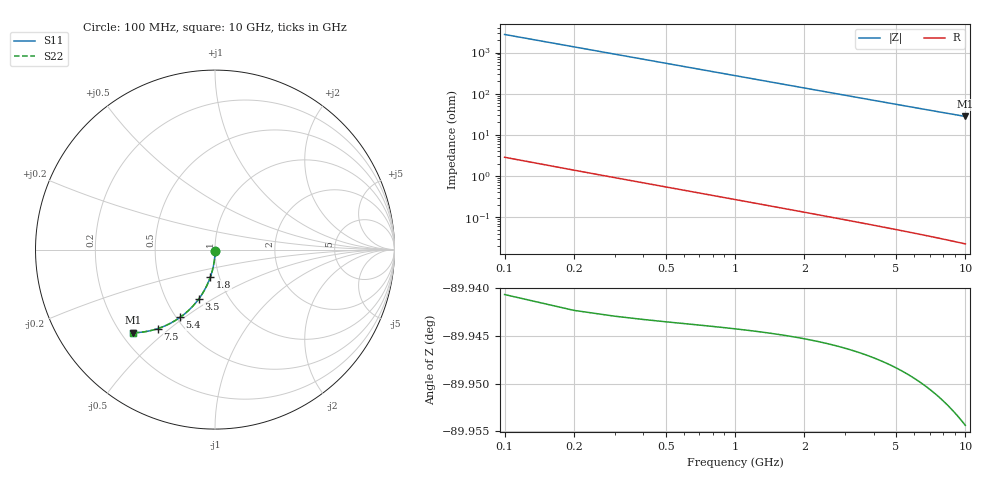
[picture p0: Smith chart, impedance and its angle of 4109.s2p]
# Hz S RI R 50.00
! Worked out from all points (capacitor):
!   100 points, 100 MHz to 10 GHz, reference 50 ohm
!   read as one part in shunt: C = 578 fF near 100 MHz
!   lowest |Z| = 28 ohm at 10 GHz (marker M1)
!   S11 on the Smith chart (normalised r, x): 100 MHz: 1.00, -0.02; 1.8 GHz: 0.91, -0.28; 3.5 GHz: 0.72, -0.44; 5.4 GHz: 0.52, -0.48; 7.5 GHz: 0.36, -0.46; 10 GHz: 0.25, -0.40
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1e8  0.000137 -0.00874  0.9997 -0.00942  0.9997 -0.00942  0.000137 -0.00874
2e8  -0.000117 -0.0175  0.9994 -0.0188  0.9994 -0.0188  -0.000117 -0.0175
3e8  -0.000535 -0.0262  0.999 -0.0282  0.999 -0.0282  -0.000535 -0.0262
4e8  -0.00112 -0.0349  0.9984 -0.0376  0.9984 -0.0376  -0.00112 -0.0349
5e8  -0.00186 -0.0436  0.9977 -0.047  0.9977 -0.047  -0.00186 -0.0436
6e8  -0.00277 -0.0523  0.9968 -0.0563  0.9968 -0.0563  -0.00277 -0.0523
8e8  -0.00507 -0.0695  0.9944 -0.0749  0.9944 -0.0749  -0.00507 -0.0695
1.1e9  -0.00972 -0.0951  0.9898 -0.1026  0.9898 -0.1026  -0.00972 -0.0951
1.4e9  -0.0158 -0.1203  0.9837 -0.1298  0.9837 -0.1298  -0.0158 -0.1203
1.8e9  -0.0259 -0.153  0.9735 -0.1653  0.9735 -0.1653  -0.0259 -0.153
2.1e9  -0.035 -0.1768  0.9644 -0.1911  0.9644 -0.1911  -0.035 -0.1768
2.5e9  -0.0489 -0.2074  0.9504 -0.2244  0.9504 -0.2244  -0.0489 -0.2074
2.9e9  -0.0648 -0.2365  0.9345 -0.2562  0.9345 -0.2562  -0.0648 -0.2365
3.4e9  -0.0871 -0.2705  0.9121 -0.2936  0.9121 -0.2936  -0.0871 -0.2705
3.5e9  -0.0918 -0.2769  0.9074 -0.3008  0.9074 -0.3008  -0.0918 -0.2769
4.3e9  -0.1326 -0.3245  0.8664 -0.3538  0.8664 -0.3538  -0.1326 -0.3245
5.1e9  -0.1773 -0.3645  0.8216 -0.3993  0.8216 -0.3993  -0.1773 -0.3645
5.4e9  -0.1947 -0.3775  0.8041 -0.4144  0.8041 -0.4144  -0.1947 -0.3775
6.7e9  -0.272 -0.4219  0.7265 -0.4678  0.7265 -0.4678  -0.272 -0.4219
7.5e9  -0.3194 -0.4403  0.6788 -0.4918  0.6788 -0.4918  -0.3194 -0.4403
8.4e9  -0.3712 -0.454  0.6266 -0.5118  0.6266 -0.5118  -0.3712 -0.454
1e10  -0.457 -0.4632  0.54 -0.5323  0.54 -0.5323  -0.457 -0.4632
